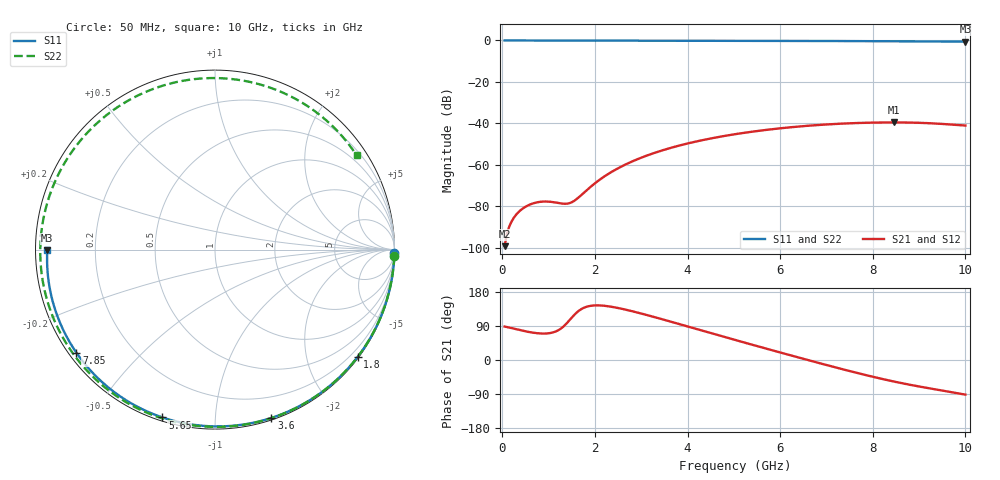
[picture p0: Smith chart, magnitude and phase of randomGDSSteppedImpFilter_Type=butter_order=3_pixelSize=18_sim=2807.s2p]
! freq	dB(S11)	phase(S11)	dB(S12)	phase(S12)
!  dB(S21)	phase(S21)	dB(S22)	phase(S22)
!S-par simulation data
#  GHz  S  DB  R 50
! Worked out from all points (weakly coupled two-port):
!   200 points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, 50 MHz to 10 GHz, reference 50 ohm
!   highest |S21| = -39.58 dB at 8.45 GHz (marker M1); lowest = -99.4 dB at 50 MHz (marker M2)
!   lowest |S11| = -0.6 dB at 10 GHz (marker M3), VSWR 29.54, Z = 1.69 - j0.126 ohm
!   |S11| at or under -10 dB: nowhere
!   |S22| runs from -0.5 to 0.0 dB; largest |S21 - S12| = 0
!   S11 on the Smith chart (normalised r, x): 50 MHz: open; 1.8 GHz: 0.03, -3.00; 3.6 GHz: 0.02, -1.39; 5.65 GHz: 0.02, -0.73; 7.85 GHz: 0.02, -0.33; 10 GHz: 0.03, -0.00
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0.05  -0.00 -1.1  -99.36 88.4  -99.36 88.4  -0.00 -2.1
0.5  -0.01 -10.4  -80.34 75.7  -80.34 75.7  -0.03 -20.7
0.7  -0.02 -14.5  -78.47 71.5  -78.47 71.5  -0.04 -28.9
0.95  -0.02 -19.7  -77.79 70.0  -77.79 70.0  -0.05 -38.9
1.4  -0.04 -28.9  -78.83 98.1  -78.83 98.1  -0.07 -56.6
1.55  -0.04 -31.9  -77.51 118.6  -77.51 118.6  -0.08 -62.3
1.75  -0.05 -35.9  -73.81 137.2  -73.81 137.2  -0.09 -69.8
1.8  -0.05 -36.9  -72.80 139.7  -72.80 139.7  -0.09 -71.7
2.15  -0.06 -43.8  -66.51 143.7  -66.51 143.7  -0.10 -84.4
2.5  -0.06 -50.7  -61.73 137.2  -61.73 137.2  -0.11 -96.6
3.4  -0.09 -67.8  -53.47 109.4  -53.47 109.4  -0.15 -126.1
3.6  -0.10 -71.5  -52.12 102.5  -52.12 102.5  -0.16 -132.4
4.35  -0.12 -85.0  -48.02 76.4  -48.02 76.4  -0.19 -155.0
5.05  -0.15 -97.2  -45.19 52.1  -45.19 52.1  -0.23 -175.4
5.65  -0.18 -107.4  -43.33 31.7  -43.33 31.7  -0.26 167.2
6.7  -0.24 -124.7  -41.03 -3.4  -41.03 -3.4  -0.32 136.5
7.3  -0.28 -134.4  -40.21 -22.9  -40.21 -22.9  -0.35 118.5
7.85  -0.33 -143.3  -39.75 -39.8  -39.75 -39.8  -0.38 101.6
8.35  -0.38 -151.5  -39.59 -54.0  -39.59 -54.0  -0.40 85.9
8.45  -0.39 -153.1  -39.58 -56.7  -39.58 -56.7  -0.40 82.8
9.2  -0.48 -165.6  -39.95 -74.2  -39.95 -74.2  -0.43 58.9
10  -0.59 -179.7  -41.10 -91.4  -41.10 -91.4  -0.47 33.7
